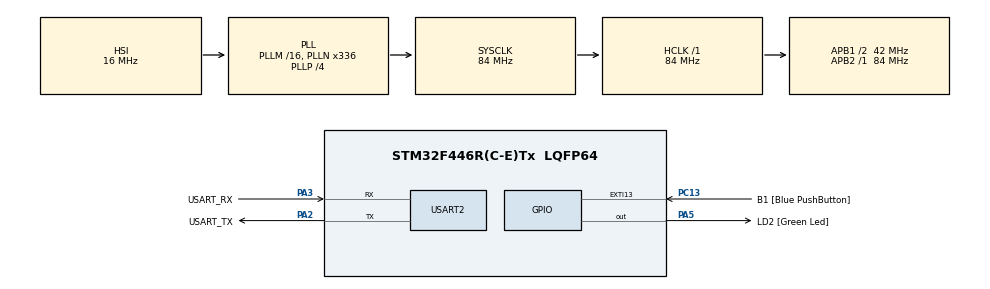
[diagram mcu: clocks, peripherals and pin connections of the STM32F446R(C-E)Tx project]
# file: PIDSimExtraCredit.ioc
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Mcu.Family=STM32F4
Mcu.Name=STM32F446R(C-E)Tx
Mcu.Package=LQFP64
NVIC.PriorityGroup=NVIC_PRIORITYGROUP_4
NVIC.TIM1_UP_TIM10_IRQn=true\:0\:0\:false\:false\:true\:true\:true\:true
NVIC.TIM6_DAC_IRQn=true\:1\:0\:true\:false\:true\:true\:true\:true
NVIC.TIM7_IRQn=true\:2\:0\:true\:false\:true\:true\:true\:true
NVIC.USART2_IRQn=true\:0\:0\:false\:false\:true\:true\:true\:true
PA13.GPIO_Label=TMS
PA13.Mode=Serial_Wire
PA13.Signal=SYS_JTMS-SWDIO
PA14.GPIO_Label=TCK
PA14.Mode=Serial_Wire
PA14.Signal=SYS_JTCK-SWCLK
PA2.GPIO_Label=USART_TX
PA2.Mode=Asynchronous
PA2.Signal=USART2_TX
PA3.GPIO_Label=USART_RX
PA3.Mode=Asynchronous
PA3.Signal=USART2_RX
PA5.GPIO_Label=LD2 [Green Led]
PA5.Signal=GPIO_Output
PB3.GPIO_Label=SWO
PB3.Signal=SYS_JTDO-SWO
PC13.GPIO_Label=B1 [Blue PushButton]
PC13.GPIO_ModeDefaultEXTI=GPIO_MODE_IT_FALLING
PC13.Signal=GPXTI13
PC14-OSC32_IN.Mode=LSE-External-Oscillator
PC14-OSC32_IN.Signal=RCC_OSC32_IN
PC15-OSC32_OUT.Mode=LSE-External-Oscillator
PC15-OSC32_OUT.Signal=RCC_OSC32_OUT
PH0-OSC_IN.Mode=HSE-External-Oscillator
PH0-OSC_IN.Signal=RCC_OSC_IN
PH1-OSC_OUT.Mode=HSE-External-Oscillator
PH1-OSC_OUT.Signal=RCC_OSC_OUT
ProjectManager.HeapSize=0x200
ProjectManager.StackSize=0x400
ProjectManager.TargetToolchain=STM32CubeIDE
RCC.48MHZClocksFreq_Value=84000000
RCC.AHBFreq_Value=84000000
RCC.APB1CLKDivider=RCC_HCLK_DIV2
RCC.APB1Freq_Value=42000000
RCC.APB1TimFreq_Value=84000000
RCC.APB2Freq_Value=84000000
RCC.APB2TimFreq_Value=84000000
RCC.CortexFreq_Value=84000000
RCC.FLatency-AdvancedSettings=FLASH_LATENCY_2
RCC.HCLKFreq_Value=84000000
RCC.HSE_VALUE=8000000
RCC.HSI_VALUE=16000000
RCC.PLLN=336
RCC.PLLP=RCC_PLLP_DIV4
RCC.SYSCLKFreq_VALUE=84000000
RCC.SYSCLKSource=RCC_SYSCLKSOURCE_PLLCLK
RCC.USBFreq_Value=168000000
RCC.VCOOutputFreq_Value=336000000
TIM10.Period=999
TIM10.Prescaler=83
TIM6.Period=1999
TIM6.Prescaler=41999
TIM7.Period=999
TIM7.Prescaler=839
USART2.VirtualMode=VM_ASYNC
VP_TIM10_VS_ClockSourceINT.Mode=Enable_Timer
VP_TIM6_VS_ClockSourceINT.Mode=Enable_Timer
VP_TIM7_VS_ClockSourceINT.Mode=Enable_Timer
board=NUCLEO-F446RE

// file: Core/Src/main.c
/* USER CODE BEGIN Header */
/**
  ******************************************************************************
  * @file           : main.c
  * @brief          : Main program body
  ******************************************************************************
  * @attention
  *
  * Copyright (c) 2026 STMicroelectronics.
  * All rights reserved.
  *
  * This software is licensed under terms that can be found in the LICENSE file
  * in the root directory of this software component.
  * If no LICENSE file comes with this software, it is provided AS-IS.
  *
  ******************************************************************************
  */
/* USER CODE END Header */
#include "main.h"
#include <stdio.h>

TIM_HandleTypeDef htim6;
TIM_HandleTypeDef htim7;
TIM_HandleTypeDef htim10;

UART_HandleTypeDef huart2;

/* USER CODE BEGIN PV */

volatile int print_flag = 0; // Add this line!

float u = 0.0f; //Square wave
float y_ss = 0.0f; //State Space
float y_z = 0.0f;  //z-Transform

// State Space Variables
float x1 = 0.0f, x2 = 0.0f;
float dt = 0.001f;           // 1ms time base

// z-Transform Variables (Difference Equation)
// Based on H(s) discretized at 1ms
float u_z[3] = {0}, y_z_hist[3] = {0};

int toggle_count = 0;        // Counter for TIM6 (5s logic)
/* USER CODE END PV */

void SystemClock_Config(void);
static void MX_GPIO_Init(void);
static void MX_TIM6_Init(void);
static void MX_TIM7_Init(void);
static void MX_TIM10_Init(void);
static void MX_USART2_UART_Init(void);

/* USER CODE BEGIN 0 */
int __io_putchar(int ch) {
  HAL_UART_Transmit(&huart2, (uint8_t *)&ch, 1, 0xFFFF);
  return ch;
}
/* USER CODE END 0 */

int main(void)
{

  /* MCU Configuration--------------------------------------------------------*/

  /* Reset of all peripherals, Initializes the Flash interface and the Systick. */
  HAL_Init();

  /* Configure the system clock */
  SystemClock_Config();

  /* Initialize all configured peripherals */
  MX_GPIO_Init();
  MX_TIM6_Init();
  MX_TIM7_Init();
  MX_TIM10_Init();
  MX_USART2_UART_Init();
  /* USER CODE BEGIN 2 */
  HAL_TIM_Base_Start_IT(&htim6);
  HAL_TIM_Base_Start_IT(&htim7);
  HAL_TIM_Base_Start_IT(&htim10);
  /* USER CODE END 2 */

  /* Infinite loop */
  /* USER CODE BEGIN WHILE */
  while (1)
  {
      if (print_flag == 1)
      {
          print_flag = 0;

          // CIE N TI Convention: $Value1 Value2;\r\n
          // We print the Output (y_ss) followed by the Input (u)
          printf("$%.4f %.1f;\r\n", y_ss, u);

          fflush(stdout); // Forces the UART buffer to empty immediately
      }
  }
  /* USER CODE END 3 */
}

void SystemClock_Config(void)
{
  RCC_OscInitTypeDef RCC_OscInitStruct = {0};
  RCC_ClkInitTypeDef RCC_ClkInitStruct = {0};

  /** Configure the main internal regulator output voltage
  */
  __HAL_RCC_PWR_CLK_ENABLE();
  __HAL_PWR_VOLTAGESCALING_CONFIG(PWR_REGULATOR_VOLTAGE_SCALE3);

  /** Initializes the RCC Oscillators according to the specified parameters
  * in the RCC_OscInitTypeDef structure.
  */
  RCC_OscInitStruct.OscillatorType = RCC_OSCILLATORTYPE_HSI;
  RCC_OscInitStruct.HSIState = RCC_HSI_ON;
  RCC_OscInitStruct.HSICalibrationValue = RCC_HSICALIBRATION_DEFAULT;
  RCC_OscInitStruct.PLL.PLLState = RCC_PLL_ON;
  RCC_OscInitStruct.PLL.PLLSource = RCC_PLLSOURCE_HSI;
  RCC_OscInitStruct.PLL.PLLM = 16;
  RCC_OscInitStruct.PLL.PLLN = 336;
  RCC_OscInitStruct.PLL.PLLP = RCC_PLLP_DIV4;
  RCC_OscInitStruct.PLL.PLLQ = 2;
  RCC_OscInitStruct.PLL.PLLR = 2;
  if (HAL_RCC_OscConfig(&RCC_OscInitStruct) != HAL_OK)
  {
    Error_Handler();
  }

  /** Initializes the CPU, AHB and APB buses clocks
  */
  RCC_ClkInitStruct.ClockType = RCC_CLOCKTYPE_HCLK|RCC_CLOCKTYPE_SYSCLK
                              |RCC_CLOCKTYPE_PCLK1|RCC_CLOCKTYPE_PCLK2;
  RCC_ClkInitStruct.SYSCLKSource = RCC_SYSCLKSOURCE_PLLCLK;
  RCC_ClkInitStruct.AHBCLKDivider = RCC_SYSCLK_DIV1;
  RCC_ClkInitStruct.APB1CLKDivider = RCC_HCLK_DIV2;
  RCC_ClkInitStruct.APB2CLKDivider = RCC_HCLK_DIV1;

  if (HAL_RCC_ClockConfig(&RCC_ClkInitStruct, FLASH_LATENCY_2) != HAL_OK)
  {
    Error_Handler();
  }
}

static void MX_TIM6_Init(void)
{

  TIM_MasterConfigTypeDef sMasterConfig = {0};

  htim6.Instance = TIM6;
  htim6.Init.Prescaler = 41999;
  htim6.Init.CounterMode = TIM_COUNTERMODE_UP;
  htim6.Init.Period = 1999;
  htim6.Init.AutoReloadPreload = TIM_AUTORELOAD_PRELOAD_DISABLE;
  if (HAL_TIM_Base_Init(&htim6) != HAL_OK)
  {
    Error_Handler();
  }
  sMasterConfig.MasterOutputTrigger = TIM_TRGO_RESET;
  sMasterConfig.MasterSlaveMode = TIM_MASTERSLAVEMODE_DISABLE;
  if (HAL_TIMEx_MasterConfigSynchronization(&htim6, &sMasterConfig) != HAL_OK)
  {
    Error_Handler();
  }

}

static void MX_TIM7_Init(void)
{

  TIM_MasterConfigTypeDef sMasterConfig = {0};

  htim7.Instance = TIM7;
  htim7.Init.Prescaler = 839;
  htim7.Init.CounterMode = TIM_COUNTERMODE_UP;
  htim7.Init.Period = 999;
  htim7.Init.AutoReloadPreload = TIM_AUTORELOAD_PRELOAD_DISABLE;
  if (HAL_TIM_Base_Init(&htim7) != HAL_OK)
  {
    Error_Handler();
  }
  sMasterConfig.MasterOutputTrigger = TIM_TRGO_RESET;
  sMasterConfig.MasterSlaveMode = TIM_MASTERSLAVEMODE_DISABLE;
  if (HAL_TIMEx_MasterConfigSynchronization(&htim7, &sMasterConfig) != HAL_OK)
  {
    Error_Handler();
  }

}

static void MX_TIM10_Init(void)
{

  htim10.Instance = TIM10;
  htim10.Init.Prescaler = 83;
  htim10.Init.CounterMode = TIM_COUNTERMODE_UP;
  htim10.Init.Period = 999;
  htim10.Init.ClockDivision = TIM_CLOCKDIVISION_DIV1;
  htim10.Init.AutoReloadPreload = TIM_AUTORELOAD_PRELOAD_DISABLE;
  if (HAL_TIM_Base_Init(&htim10) != HAL_OK)
  {
    Error_Handler();
  }

}

static void MX_USART2_UART_Init(void)
{

  huart2.Instance = USART2;
  huart2.Init.BaudRate = 115200;
  huart2.Init.WordLength = UART_WORDLENGTH_8B;
  huart2.Init.StopBits = UART_STOPBITS_1;
  huart2.Init.Parity = UART_PARITY_NONE;
  huart2.Init.Mode = UART_MODE_TX_RX;
  huart2.Init.HwFlowCtl = UART_HWCONTROL_NONE;
  huart2.Init.OverSampling = UART_OVERSAMPLING_16;
  if (HAL_UART_Init(&huart2) != HAL_OK)
  {
    Error_Handler();
  }

}

static void MX_GPIO_Init(void)
{
  GPIO_InitTypeDef GPIO_InitStruct = {0};

  /* GPIO Ports Clock Enable */
  __HAL_RCC_GPIOC_CLK_ENABLE();
  __HAL_RCC_GPIOH_CLK_ENABLE();
  __HAL_RCC_GPIOA_CLK_ENABLE();
  __HAL_RCC_GPIOB_CLK_ENABLE();

  /*Configure GPIO pin Output Level */
  HAL_GPIO_WritePin(LD2_GPIO_Port, LD2_Pin, GPIO_PIN_RESET);

  /*Configure GPIO pin : B1_Pin */
  GPIO_InitStruct.Pin = B1_Pin;
  GPIO_InitStruct.Mode = GPIO_MODE_IT_FALLING;
  GPIO_InitStruct.Pull = GPIO_NOPULL;
  HAL_GPIO_Init(B1_GPIO_Port, &GPIO_InitStruct);

  /*Configure GPIO pin : LD2_Pin */
  GPIO_InitStruct.Pin = LD2_Pin;
  GPIO_InitStruct.Mode = GPIO_MODE_OUTPUT_PP;
  GPIO_InitStruct.Pull = GPIO_NOPULL;
  GPIO_InitStruct.Speed = GPIO_SPEED_FREQ_LOW;
  HAL_GPIO_Init(LD2_GPIO_Port, &GPIO_InitStruct);

}

/* USER CODE BEGIN 4 */
void HAL_TIM_PeriodElapsedCallback(TIM_HandleTypeDef *htim) {

  // --- TIM10: SIMULATION ENGINE (1ms) ---
  if (htim->Instance == TIM10) {
    /* 1. STATE SPACE METHOD */
    float dx1 = x2;
    float dx2 = -51.0f * x1 - 5.0f * x2 + u;

    x1 += dx1 * dt; // Euler Integration
    x2 += dx2 * dt;

    y_ss = 51.0f * x1 + 1.0f * x2;

    /* 2. Z-TRANSFORM METHOD (Difference Equation) */
    // Transfer function discretized via Tustin:
    // H(z) = (0.000498 z^2 + 2.49e-07 z - 0.000497) / (z^2 - 1.995 z + 0.995)
    y_z = (0.000498f * u) + (0.0000002f * u_z[1]) - (0.000497f * u_z[2])
          + (1.995f * y_z_hist[1]) - (0.995f * y_z_hist[2]);

    // Update history for next iteration
    u_z[2] = u_z[1]; u_z[1] = u;
    y_z_hist[2] = y_z_hist[1]; y_z_hist[1] = y_z;
  }

  // --- TIM6: INPUT TOGGLE (Every 5 Seconds) ---
  if (htim->Instance == TIM6) {
    toggle_count++;
    if (toggle_count >= 5) {
      u = (u == 0.0f) ? 1.0f : 0.0f; // Toggle square wave
      toggle_count = 0;
    }
  }

  // --- TIM7: TELEMETRY (10ms) ---

    if (htim->Instance == TIM7) {
      print_flag = 1;
    }
}
/* USER CODE END 4 */

void Error_Handler(void)
{
  __disable_irq();
  while (1)
  {
  }
}
